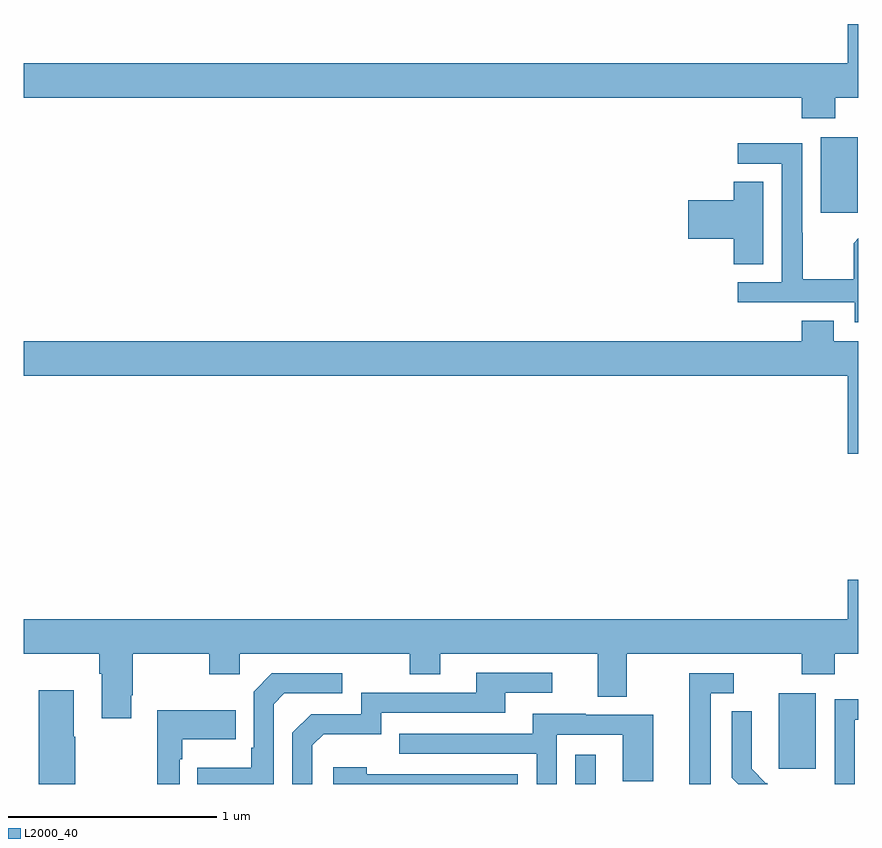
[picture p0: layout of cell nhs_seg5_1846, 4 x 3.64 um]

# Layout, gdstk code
import gdstk
lib = gdstk.Library(unit=1e-6, precision=1e-09)
def R(c, l, rs):  # rectangles x0, y0, x1, y1
    for r in rs: c.add(gdstk.rectangle(r[:2], r[2:], *l))
def P(c, l, *ps):  # polygons
    for p in ps: c.add(gdstk.Polygon(p, *l))
L2000_40 = (2000, 40)

nhs_seg5_1846 = lib.new_cell('nhs_seg5_1846')
R(nhs_seg5_1846, L2000_40, [(223.644,858.799,223.741,858.94), (224.618,858.873,224.797,859.234), (224.819,861.537,224.998,861.898)])
P(nhs_seg5_1846, L2000_40, [(224.889,862.088),(225,862.088),(225,862.441),(224.948,862.441),(224.948,862.252),(221,862.252),(221,862.088),(224.729,862.088),(224.729,861.989),(224.889,861.989)],
  [(225,861.414),(224.977,861.391),(224.977,861.217),(224.733,861.217),(224.733,861.44),(224.73,861.44),(224.73,861.87),(224.421,861.87),(224.421,861.771),(224.634,861.771),(224.634,861.204),(224.421,861.204),(224.421,861.108),(224.982,861.108),(224.982,861.011),(225,861.011)],
  [(224.545,861.686),(224.402,861.686),(224.402,861.596),(224.184,861.596),(224.184,861.413),(224.402,861.413),(224.402,861.289),(224.545,861.289)],
  [(225,860.92),(224.881,860.92),(224.881,861.019),(224.729,861.019),(224.729,860.92),(221,860.92),(221,860.756),(224.948,860.756),(224.948,860.382),(225,860.382)],
  [(221.515,859.225),(221.523,859.225),(221.523,859.424),(221.89,859.424),(221.89,859.325),(222.036,859.325),(222.036,859.424),(222.85,859.424),(222.85,859.325),(222.997,859.325),(222.997,859.424),(223.751,859.424),(223.751,859.216),(223.891,859.216),(223.891,859.424),(224.728,859.424),(224.728,859.325),(224.888,859.325),(224.888,859.424),(225,859.424),(225,859.777),(224.948,859.777),(224.948,859.588),(221,859.588),(221,859.424),(221.363,859.424),(221.363,859.328),(221.375,859.328),(221.375,859.113),(221.515,859.113)],
  [(222.384,858.984),(222.437,859.037),(222.714,859.037),(222.714,859.14),(223.309,859.14),(223.309,859.236),(223.534,859.236),(223.534,859.332),(223.169,859.332),(223.169,859.236),(222.618,859.236),(222.618,859.134),(222.378,859.134),(222.288,859.044),(222.288,858.799),(222.384,858.799)],
  [(224.293,859.233),(224.404,859.233),(224.404,859.329),(224.189,859.329),(224.189,858.799),(224.293,858.799)],
  [(222.198,859.182),(222.249,859.233),(222.526,859.233),(222.526,859.329),(222.189,859.329),(222.102,859.242),(222.102,858.973),(222.09,858.973),(222.09,858.877),(221.833,858.877),(221.833,858.799),(222.198,858.799)],
  [(221.247,859.025),(221.239,859.025),(221.239,859.249),(221.072,859.249),(221.072,858.799),(221.247,858.799)],
  [(224.982,859.107),(225,859.107),(225,859.206),(224.886,859.206),(224.886,858.799),(224.982,858.799)],
  [(221.748,858.917),(221.761,858.917),(221.761,859.013),(222.017,859.013),(222.017,859.153),(221.64,859.153),(221.64,858.799),(221.748,858.799)],
  [(224.562,858.804),(224.559,858.801),(224.489,858.872),(224.489,858.994),(224.49,858.994),(224.49,859.148),(224.394,859.148),(224.394,858.83),(224.425,858.799),(224.567,858.799)],
  [(223.554,859.035),(223.872,859.035),(223.872,858.811),(224.017,858.811),(224.017,859.131),(223.693,859.131),(223.693,859.135),(223.439,859.135),(223.439,859.041),(222.799,859.041),(222.799,858.945),(223.458,858.945),(223.458,858.799),(223.554,858.799)],
  [(223.368,858.846),(222.644,858.846),(222.644,858.88),(222.483,858.88),(222.483,858.799),(223.368,858.799)])

lib.write_gds('nhs_seg5_1846.gds')
